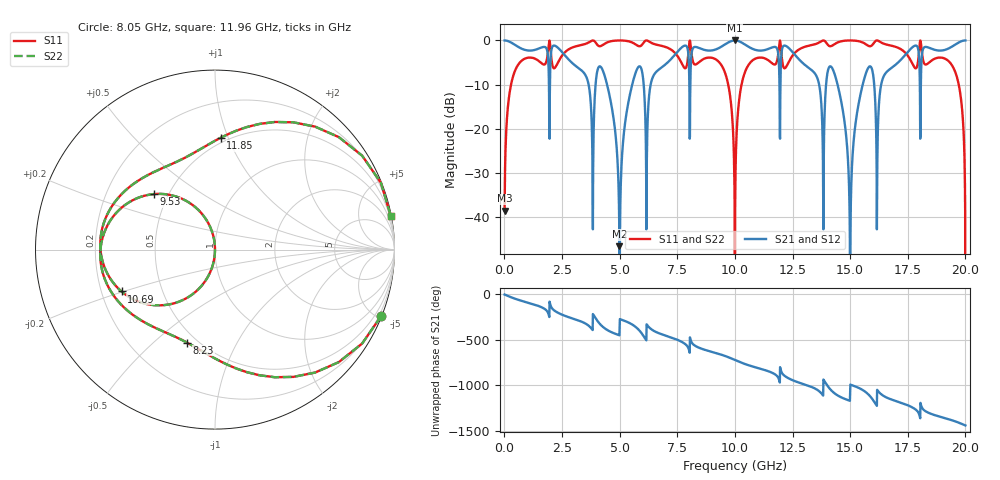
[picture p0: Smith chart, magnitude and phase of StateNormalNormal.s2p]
! File created by SignalIntegrity v1.4.3: Signal and Power Integrity Tools
! https://github.com/Nubis-Communications/SignalIntegrity
# MHz S MA R 50.0
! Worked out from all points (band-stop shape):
!   2000 points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, 10 MHz to 20 GHz, reference 50 ohm
!   highest |S21| = 0.00 dB at 10 GHz (marker M1); lowest = -46.5 dB at 4.99 GHz (marker M2)
!   |S21| within 3 dB of the highest: 8.12 GHz to 11.88 GHz (3.761 GHz wide, 37.6 % of centre); 18.12 GHz to end of sweep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
!   lowest |S11| = -38.5 dB at 10 MHz (marker M3), VSWR 1.02, Z = 50 - j1.19 ohm
!   |S11| at or under -10 dB: start of sweep to 288.4 MHz; 9.712 GHz to 10.29 GHz (576.8 MHz wide, 5.77 % of centre); 19.71 GHz to end of sweep
!   |S22| runs from - to 0.0 dB; largest |S21 - S12| = 0
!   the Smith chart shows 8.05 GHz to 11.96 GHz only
!   S11 on the Smith chart (normalised r, x): 8.05 GHz: 0.05, -5.16; 8.23 GHz: 0.44, -0.65; 9.53 GHz: 0.42, +0.33; 10.69 GHz: 0.28, -0.20; 11.85 GHz: 0.46, +0.94; 11.96 GHz: 0, +11
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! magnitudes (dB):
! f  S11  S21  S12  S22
! 10 MHz  -38.5  0.0  0.0  -38.5
! 560 MHz  -5.8  -1.3  -1.3  -5.8
! 3.35 GHz  -1.0  -6.8  -6.8  -1.0
! 4.37 GHz  -0.7  -8.3  -8.3  -0.7
! 4.99 GHz  0.0  -46.5  -46.5  0.0
! 6.68 GHz  -1.1  -6.7  -6.7  -1.1
! 8.05 GHz  0.0  -21.7  -21.7  0.0
! 8.23 GHz  -5.3  -1.5  -1.5  -5.3
! 9.53 GHz  -6.7  -1.0  -1.0  -6.7
! 10 GHz  -  0.0  0.0  -
! 10.01 GHz  -38.5  0.0  0.0  -38.5
! 10.69 GHz  -4.9  -1.7  -1.7  -4.9
! 11.85 GHz  -4.1  -2.1  -2.1  -4.1
! 11.96 GHz  0.0  -22.2  -22.2  0.0
! 13.34 GHz  -1.0  -6.8  -6.8  -1.0
! 14.36 GHz  -0.7  -8.2  -8.2  -0.7
! 15 GHz  0.0  -  -  0.0
! 15.64 GHz  -0.7  -8.2  -8.2  -0.7
! 16.67 GHz  -1.0  -6.7  -6.7  -1.0
! 19.59 GHz  -7.6  -0.8  -0.8  -7.6
! 19.88 GHz  -17.0  -0.1  -0.1  -17.0
! 20 GHz  -  0.0  0.0  -
